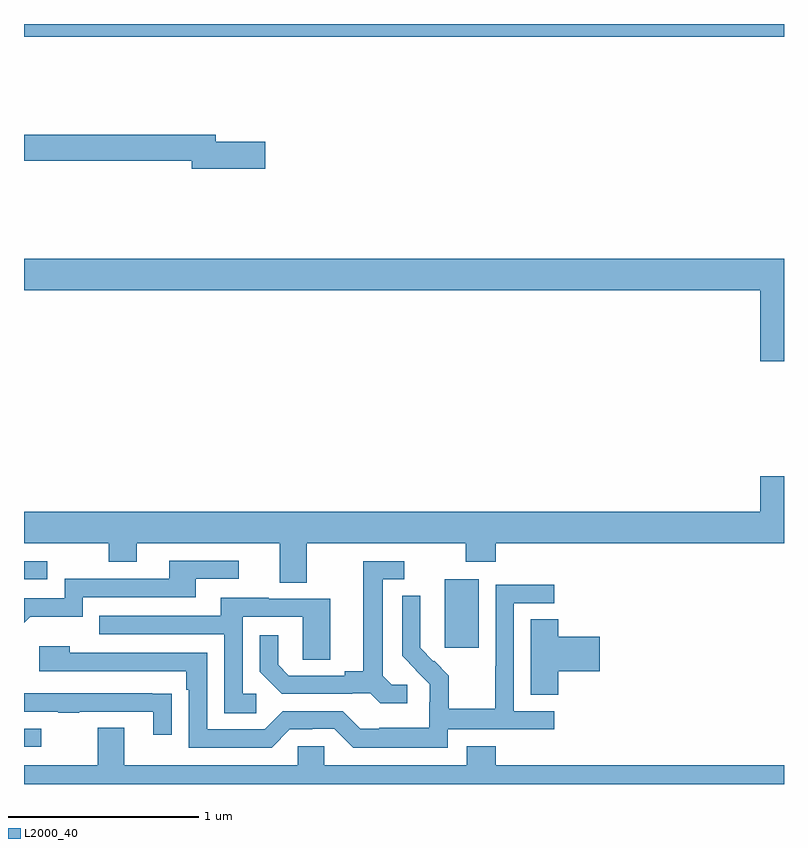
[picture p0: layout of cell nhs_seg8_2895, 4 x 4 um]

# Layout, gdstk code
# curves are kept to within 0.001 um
import gdstk
lib = gdstk.Library(unit=1e-6, precision=1e-09)
def R(c, l, rs):  # rectangles x0, y0, x1, y1
    for r in rs: c.add(gdstk.rectangle(r[:2], r[2:], *l))
def P(c, l, *ps):  # polygons
    for p in ps: c.add(gdstk.Polygon(p, *l))
L2000_40 = (2000, 40)

nhs_seg8_2895 = lib.new_cell('nhs_seg8_2895')
R(nhs_seg8_2895, L2000_40, [(293,1114.095,293.092,1114.191), (295.214,1114.617,295.393,1114.978), (293,1114.977,293.122,1115.073), (293,1117.832,297,1117.9)])
P(nhs_seg8_2895, L2000_40, [(294.271,1117.28),(294.01,1117.28),(294.01,1117.316),(293,1117.316),(293,1117.18),(293.882,1117.18),(293.882,1117.138),(294.271,1117.138)],
  [(297,1116.664),(293,1116.664),(293,1116.5),(296.876,1116.5),(296.876,1116.126),(297,1116.126)],
  [(294.487,1115.168),(295.324,1115.168),(295.324,1115.069),(295.484,1115.069),(295.484,1115.168),(297,1115.168),(297,1115.521),(296.876,1115.521),(296.876,1115.332),(293,1115.332),(293,1115.168),(293.446,1115.168),(293.446,1115.069),(293.593,1115.069),(293.593,1115.168),(294.347,1115.168),(294.347,1114.96),(294.487,1114.96)],
  [(293.033,1114.781),(293.31,1114.781),(293.31,1114.884),(293.905,1114.884),(293.905,1114.98),(294.13,1114.98),(294.13,1115.076),(293.765,1115.076),(293.765,1114.98),(293.214,1114.98),(293.214,1114.878),(293,1114.878),(293,1114.748)],
  [(295.018,1114.422),(294.936,1114.422),(294.889,1114.469),(294.889,1114.977),(295,1114.977),(295,1115.073),(294.785,1115.073),(294.785,1114.493),(294.689,1114.493),(294.689,1114.47),(294.394,1114.47),(294.337,1114.527),(294.337,1114.684),(294.24,1114.684),(294.24,1114.49),(294.356,1114.374),(294.728,1114.374),(294.728,1114.377),(294.822,1114.377),(294.874,1114.325),(295.018,1114.325)],
  [(295.23,1114.188),(295.792,1114.188),(295.792,1114.284),(295.578,1114.284),(295.578,1114.851),(295.792,1114.851),(295.792,1114.95),(295.482,1114.95),(295.482,1114.52),(295.48,1114.52),(295.48,1114.297),(295.235,1114.297),(295.235,1114.471),(295.158,1114.548),(295.155,1114.545),(295.085,1114.616),(295.086,1114.892),(294.99,1114.892),(294.99,1114.574),(295.136,1114.426),(295.136,1114.329),(295.134,1114.329),(295.134,1114.195),(294.871,1114.195),(294.871,1114.191),(294.771,1114.191),(294.678,1114.284),(294.363,1114.284),(294.267,1114.188),(293.964,1114.188),(293.964,1114.59),(293.24,1114.59),(293.24,1114.624),(293.079,1114.624),(293.079,1114.494),(293.855,1114.494),(293.855,1114.397),(293.868,1114.397),(293.868,1114.092),(294.303,1114.092),(294.399,1114.188),(294.518,1114.188),(294.518,1114.191),(294.633,1114.191),(294.733,1114.091),(295.23,1114.091)],
  [(294.223,1114.374),(294.15,1114.374),(294.15,1114.779),(294.468,1114.779),(294.468,1114.555),(294.613,1114.555),(294.613,1114.875),(294.289,1114.875),(294.289,1114.879),(294.035,1114.879),(294.035,1114.785),(293.395,1114.785),(293.395,1114.689),(294.054,1114.689),(294.054,1114.273),(294.223,1114.273)],
  [(295.811,1114.493),(296.029,1114.493),(296.029,1114.676),(295.811,1114.676),(295.811,1114.766),(295.667,1114.766),(295.667,1114.369),(295.811,1114.369)],
  [(293.777,1114.376),(293.675,1114.376),(293.675,1114.377),(293,1114.377),(293,1114.281),(293.179,1114.281),(293.179,1114.276),(293.291,1114.276),(293.291,1114.281),(293.681,1114.281),(293.681,1114.158),(293.777,1114.158)],
  [(297,1114),(295.484,1114),(295.484,1114.099),(295.331,1114.099),(295.331,1114),(294.579,1114),(294.579,1114.098),(294.441,1114.098),(294.441,1114),(293.527,1114),(293.527,1114.195),(293.387,1114.195),(293.387,1114),(293,1114),(293,1113.9),(297,1113.9)])

lib.write_gds('nhs_seg8_2895.gds')
